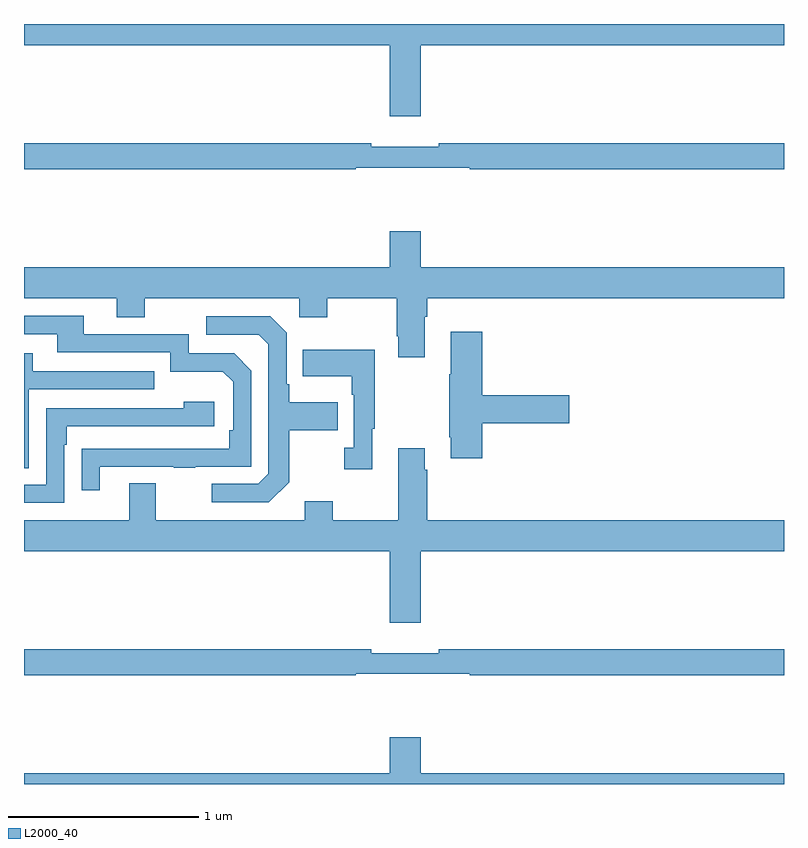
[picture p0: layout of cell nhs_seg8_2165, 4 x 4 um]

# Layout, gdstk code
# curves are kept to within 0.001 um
import gdstk
lib = gdstk.Library(unit=1e-6, precision=1e-09)
def P(c, l, *ps):  # polygons
    for p in ps: c.add(gdstk.Polygon(p, *l))
L2000_40 = (2000, 40)

nhs_seg8_2165 = lib.new_cell('nhs_seg8_2165')
P(nhs_seg8_2165, L2000_40, [(249.088,1161.788),(251,1161.788),(251,1161.9),(247,1161.9),(247,1161.788),(248.924,1161.788),(248.924,1161.414),(249.088,1161.414)],
  [(248.745,1161.144),(249.345,1161.144),(249.345,1161.136),(251,1161.136),(251,1161.272),(249.184,1161.272),(249.184,1161.253),(248.828,1161.253),(248.828,1161.272),(247,1161.272),(247,1161.136),(248.745,1161.136)],
  [(247,1160.456),(247.487,1160.456),(247.487,1160.357),(247.635,1160.357),(247.635,1160.456),(248.448,1160.456),(248.448,1160.357),(248.595,1160.357),(248.595,1160.456),(248.962,1160.456),(248.962,1160.257),(248.969,1160.257),(248.969,1160.145),(249.109,1160.145),(249.109,1160.36),(249.122,1160.36),(249.122,1160.456),(251,1160.456),(251,1160.62),(249.088,1160.62),(249.088,1160.809),(248.924,1160.809),(248.924,1160.62),(247,1160.62)],
  [(247.399,1159.569),(247.789,1159.569),(247.789,1159.564),(247.901,1159.564),(247.901,1159.569),(248.196,1159.569),(248.196,1160.076),(248.106,1160.166),(247.866,1160.166),(247.866,1160.268),(247.315,1160.268),(247.315,1160.364),(247,1160.364),(247,1160.268),(247.175,1160.268),(247.175,1160.172),(247.77,1160.172),(247.77,1160.069),(248.047,1160.069),(248.1,1160.016),(248.1,1159.762),(248.08,1159.762),(248.08,1159.665),(247.303,1159.664),(247.303,1159.446),(247.399,1159.446)],
  [(248.395,1159.489),(248.395,1159.762),(248.651,1159.762),(248.651,1159.909),(248.395,1159.909),(248.395,1160.005),(248.382,1160.005),(248.382,1160.274),(248.295,1160.361),(247.959,1160.361),(247.959,1160.265),(248.235,1160.265),(248.286,1160.214),(248.286,1159.533),(248.232,1159.479),(247.989,1159.479),(247.989,1159.383),(248.289,1159.383)],
  [(249.413,1159.799),(249.871,1159.799),(249.871,1159.946),(249.413,1159.946),(249.413,1160.281),(249.245,1160.281),(249.245,1160.057),(249.238,1160.057),(249.238,1159.726),(249.245,1159.726),(249.245,1159.614),(249.413,1159.614)],
  [(248.833,1159.769),(248.845,1159.769),(248.845,1160.185),(248.467,1160.185),(248.467,1160.045),(248.724,1160.045),(248.724,1159.949),(248.736,1159.949),(248.736,1159.67),(248.685,1159.67),(248.685,1159.557),(248.833,1159.557)],
  [(247.026,1159.977),(247.685,1159.977),(247.685,1160.073),(247.045,1160.073),(247.045,1160.167),(247,1160.167),(247,1159.561),(247.026,1159.561)],
  [(247.212,1159.685),(247.225,1159.685),(247.225,1159.782),(248.002,1159.782),(248.002,1159.912),(247.841,1159.912),(247.841,1159.878),(247.116,1159.878),(247.116,1159.476),(247,1159.476),(247,1159.38),(247.212,1159.38)],
  [(249.088,1159.124),(251,1159.124),(251,1159.288),(249.122,1159.288),(249.122,1159.553),(249.109,1159.553),(249.109,1159.666),(248.969,1159.666),(248.969,1159.288),(248.625,1159.288),(248.625,1159.387),(248.477,1159.387),(248.477,1159.288),(247.693,1159.288),(247.693,1159.483),(247.553,1159.483),(247.553,1159.288),(247,1159.288),(247,1159.124),(248.924,1159.124),(248.924,1158.75),(249.088,1158.75)],
  [(248.745,1158.48),(249.345,1158.48),(249.345,1158.472),(251,1158.472),(251,1158.608),(249.184,1158.608),(249.184,1158.589),(248.828,1158.589),(248.828,1158.608),(247,1158.608),(247,1158.472),(248.745,1158.472)],
  [(251,1157.956),(249.088,1157.956),(249.088,1158.145),(248.924,1158.145),(248.924,1157.956),(247,1157.956),(247,1157.9),(251,1157.9)])

lib.write_gds('nhs_seg8_2165.gds')
